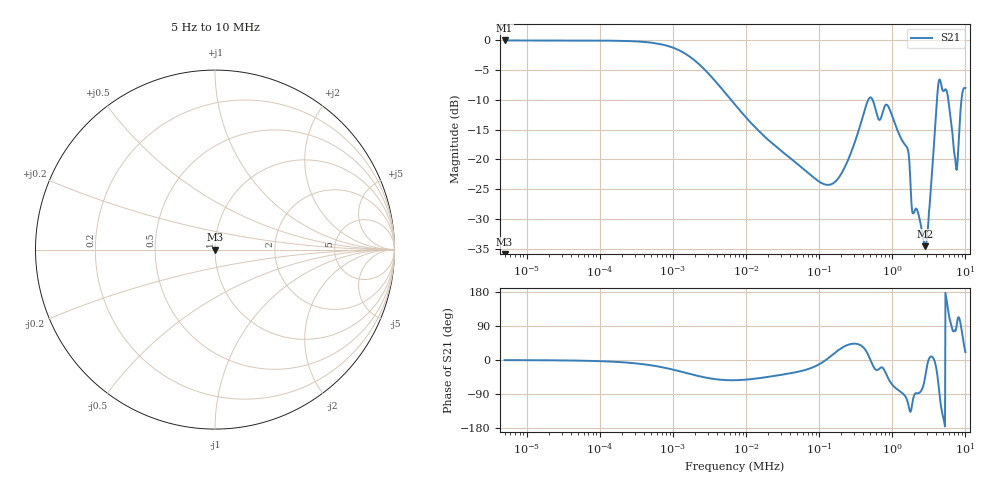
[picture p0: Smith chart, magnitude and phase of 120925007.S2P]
!Agilent Technologies,E5061B,MY49204007,A.02.12
!Date: Fri Sep 12 09:57:43 2025
!Data & Calibration Information:
!Freq	S11:SOLT2(OFF)	S21:SOLT2(OFF)	S12:SOLT2(OFF)	S22:SOLT2(OFF)
# Hz S dB R 50
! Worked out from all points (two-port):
!   1041 points, 5 Hz to 10 MHz, reference 50 ohm
!   highest |S21| = -0.04 dB at 5 Hz (marker M1); lowest = -34.5 dB at 2.816 MHz (marker M2)
!   |S21| within 3 dB of the highest: start of sweep to 1.826 kHz
!   lowest |S11| = - dB at 5 Hz (marker M3), VSWR 1.00, Z = 50 + j0 ohm
!   |S11| at or under -10 dB: start of sweep to end of sweep
!   S12 and S22 are empty: the file has one direction only
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5  -200.00 0.0  -0.04 -0.3  -200.00 0.0  -200.00 0.0
56.522  -200.00 0.0  -0.05 -1.8  -200.00 0.0  -200.00 0.0
632.897  -200.00 0.0  -0.58 -17.2  -200.00 0.0  -200.00 0.0
1929.818  -200.00 0.0  -3.27 -39.3  -200.00 0.0  -200.00 0.0
7154.49  -200.00 0.0  -10.88 -53.3  -200.00 0.0  -200.00 0.0
80111.67  -200.00 0.0  -22.81 -20.2  -200.00 0.0  -200.00 0.0
179528.9  -200.00 0.0  -23.29 24.6  -200.00 0.0  -200.00 0.0
404113.1  -200.00 0.0  -12.40 32.8  -200.00 0.0  -200.00 0.0
509689.2  -200.00 0.0  -9.60 -2.6  -200.00 0.0  -200.00 0.0
666134.9  -200.00 0.0  -13.37 -22.9  -200.00 0.0  -200.00 0.0
893075.1  -200.00 0.0  -11.23 -50.8  -200.00 0.0  -200.00 0.0
1577558  -200.00 0.0  -17.90 -103.3  -200.00 0.0  -200.00 0.0
1910963  -200.00 0.0  -29.04 -106.3  -200.00 0.0  -200.00 0.0
2816350  -200.00 0.0  -34.55 -44.9  -200.00 0.0  -200.00 0.0
3682284  -200.00 0.0  -18.29 3.1  -200.00 0.0  -200.00 0.0
4062365  -200.00 0.0  -10.41 -29.4  -200.00 0.0  -200.00 0.0
4378536  -200.00 0.0  -6.64 -82.3  -200.00 0.0  -200.00 0.0
5200581  -200.00 0.0  -8.33 -169.8  -200.00 0.0  -200.00 0.0
5947861  -200.00 0.0  -10.74 118.2  -200.00 0.0  -200.00 0.0
7357139  -200.00 0.0  -20.63 77.8  -200.00 0.0  -200.00 0.0
8438310  -200.00 0.0  -13.04 103.3  -200.00 0.0  -200.00 0.0
1e7  -200.00 0.0  -8.02 21.1  -200.00 0.0  -200.00 0.0
